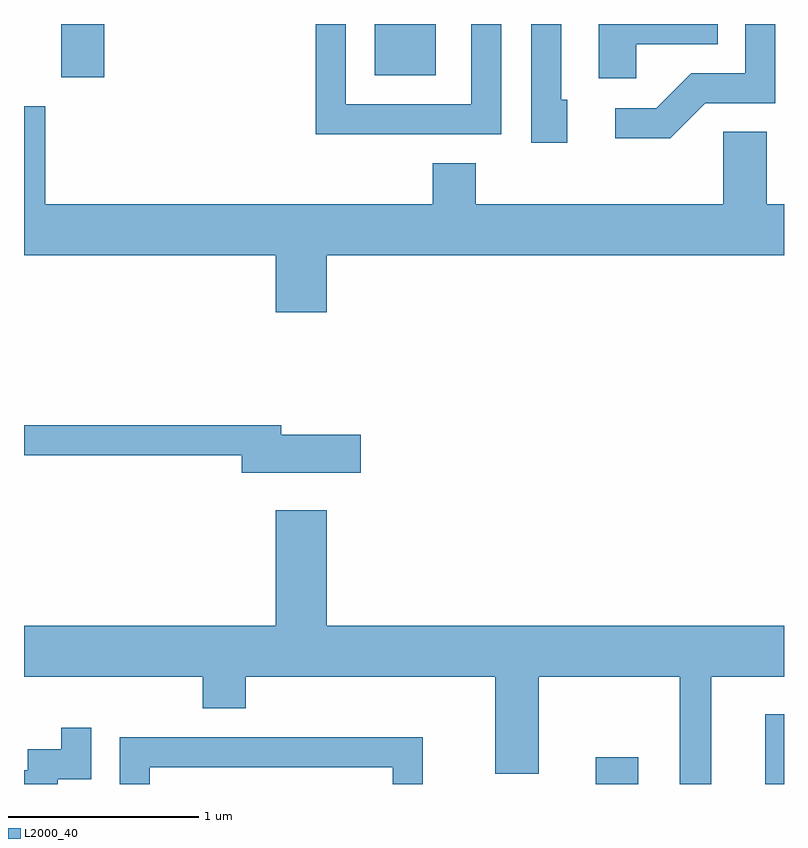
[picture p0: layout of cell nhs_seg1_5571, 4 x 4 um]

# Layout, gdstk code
import gdstk
lib = gdstk.Library(unit=1e-6, precision=1e-09)
def R(c, l, rs):  # rectangles x0, y0, x1, y1
    for r in rs: c.add(gdstk.rectangle(r[:2], r[2:], *l))
def P(c, l, *ps):  # polygons
    for p in ps: c.add(gdstk.Polygon(p, *l))
L2000_40 = (2000, 40)

nhs_seg1_5571 = lib.new_cell('nhs_seg1_5571')
R(nhs_seg1_5571, L2000_40, [(356.621,865.712,356.844,865.854), (357.511,865.712,357.611,866.079), (353.806,869.431,354.034,869.712), (355.456,869.441,355.779,869.712)])
P(nhs_seg1_5571, L2000_40, [(357.197,869.296),(357.564,869.296),(357.564,869.712),(357.406,869.712),(357.406,869.454),(357.124,869.454),(356.939,869.269),(356.723,869.269),(356.723,869.111),(357.012,869.111)],
  [(356.834,869.606),(357.263,869.606),(357.263,869.712),(356.636,869.712),(356.636,869.426),(356.834,869.426)],
  [(356.469,869.314),(356.439,869.314),(356.439,869.712),(356.281,869.712),(356.281,869.086),(356.469,869.086)],
  [(356.124,869.712),(355.966,869.712),(355.966,869.289),(355.304,869.289),(355.304,869.712),(355.146,869.712),(355.146,869.131),(356.124,869.131)],
  [(355.204,868.496),(357.611,868.496),(357.611,868.764),(357.519,868.764),(357.519,869.144),(357.291,869.144),(357.291,868.764),(355.989,868.764),(355.989,868.979),(355.761,868.979),(355.761,868.764),(353.724,868.764),(353.724,869.279),(353.611,869.279),(353.611,868.496),(354.936,868.496),(354.936,868.196),(355.204,868.196)],
  [(355.384,867.549),(354.964,867.549),(354.964,867.599),(353.611,867.599),(353.611,867.441),(354.756,867.441),(354.756,867.351),(355.384,867.351)],
  [(357.229,866.276),(357.611,866.276),(357.611,866.544),(355.204,866.544),(355.204,867.154),(354.936,867.154),(354.936,866.544),(353.611,866.544),(353.611,866.276),(354.551,866.276),(354.551,866.111),(354.779,866.111),(354.779,866.276),(356.091,866.276),(356.091,865.766),(356.319,865.766),(356.319,866.276),(357.061,866.276),(357.061,865.712),(357.229,865.712)],
  [(353.789,865.736),(353.964,865.736),(353.964,866.008),(353.806,866.008),(353.806,865.894),(353.631,865.894),(353.631,865.784),(353.611,865.784),(353.611,865.712),(353.789,865.712)],
  [(354.274,865.801),(355.551,865.801),(355.551,865.712),(355.709,865.712),(355.709,865.959),(354.116,865.959),(354.116,865.712),(354.274,865.712)])

lib.write_gds('nhs_seg1_5571.gds')
